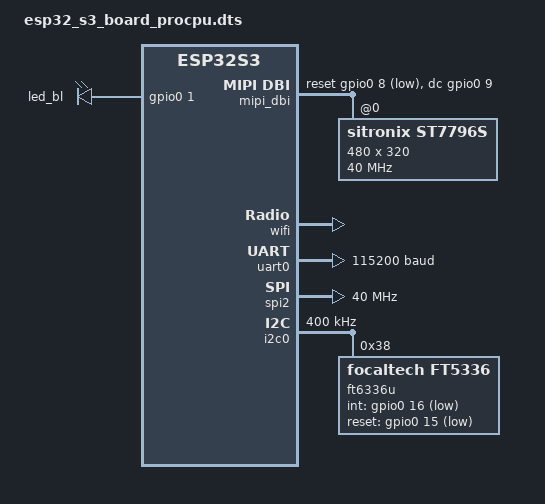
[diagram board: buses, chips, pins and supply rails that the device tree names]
/dts-v1/;

#include <espressif/esp32s3/esp32s3_wroom_n8r8.dtsi>
#include <espressif/partitions_0x0_amp.dtsi>
#include "esp32_s3_board-pinctrl.dtsi"
#include <zephyr/dt-bindings/mipi_dbi/mipi_dbi.h>

/ {
    aliases {
        bl-led = &led_bl;          /* 已有 aliases 的话就追加这行 */
    };

    leds {
        compatible = "gpio-leds";
        led_bl: led_bl {
            gpios = <&gpio0 1 GPIO_ACTIVE_HIGH>;
        };
    };

    chosen {
        zephyr,sram = &sram1;
        zephyr,flash = &flash0;
        zephyr,console = &uart0;
        zephyr,shell-uart = &uart0;
        zephyr,display = &st7796s;
    };

    mipi_dbi {
        compatible = "zephyr,mipi-dbi-spi";
        spi-dev = <&spi2>;
        dc-gpios = <&gpio0 9 GPIO_ACTIVE_HIGH>;
        reset-gpios = <&gpio0 8 GPIO_ACTIVE_LOW>;
        #address-cells = <1>;
        #size-cells = <0>;
        write-only;
        status = "okay";

        st7796s: st7796s@0 {
            compatible = "sitronix,st7796s";
            reg = <0>;
            mipi-max-frequency = <40000000>;
            mipi-mode = "MIPI_DBI_MODE_SPI_4WIRE";
            width = <480>;
            height = <320>;
            madctl = <0x68>; /* MV|MX|BGR: 480x320 landscape */
            pgc = [F0 00 03 08 0B 08 11 08 45 26 94 97 45 45];
            ngc = [F0 00 02 06 09 07 0D 08 45 26 94 97 45 45];
        };
    };
};

&gpio0 { status = "okay"; };

&wifi {
    status = "okay";
};

&uart0 {
    status = "okay";
    current-speed = <115200>;
    pinctrl-0 = <&uart0_default>;
    pinctrl-names = "default";
};

&spi2 {
    #address-cells = <1>;
    #size-cells = <0>;
    cs-gpios = <&gpio0 10 GPIO_ACTIVE_LOW>;
    clock-frequency = <40000000>;
    pinctrl-0 = <&spim2_default>;
    pinctrl-names = "default";
    status = "okay";
};

&i2c0 {
    #address-cells = <1>;
    #size-cells = <0>;
    clock-frequency = <400000>;
    pinctrl-0 = <&i2c0_default>;
    pinctrl-names = "default";
    status = "okay";

    ft6336u: focaltech,ft5336@38 {
        compatible = "focaltech,ft5336";
        reg = <0x38>;
        int-gpios = <&gpio0 16 (GPIO_ACTIVE_LOW | GPIO_PULL_UP)>;
        reset-gpios = <&gpio0 15 GPIO_ACTIVE_LOW>;
        screen-width = <480>;
        screen-height = <320>;
        status = "okay";
    };
};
